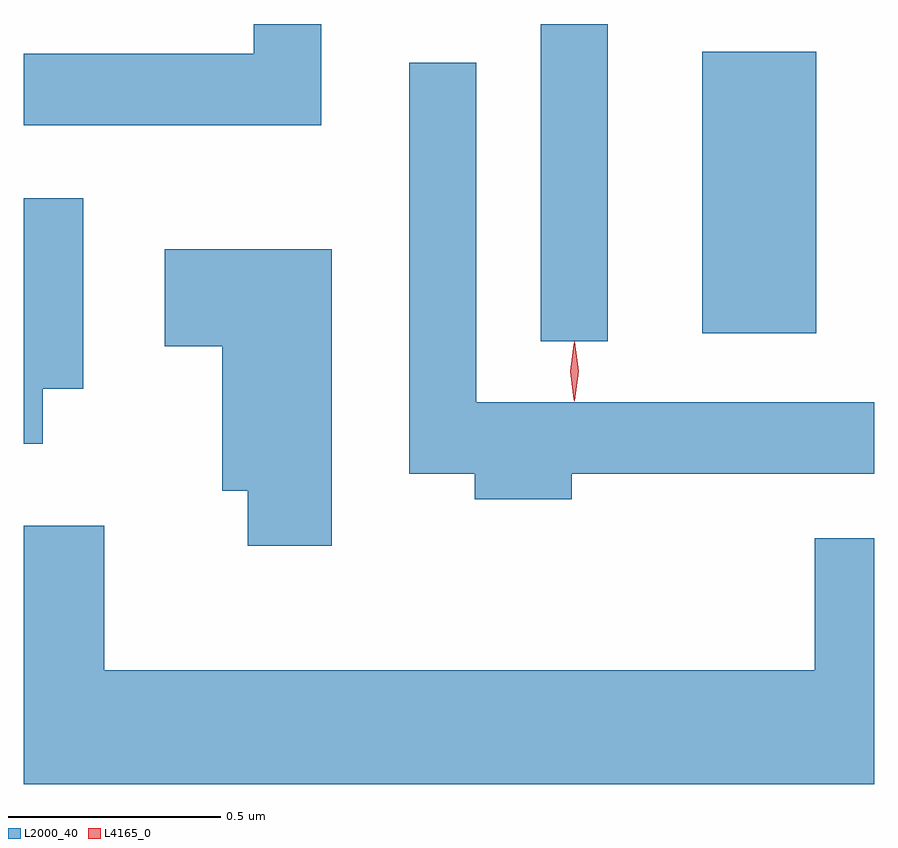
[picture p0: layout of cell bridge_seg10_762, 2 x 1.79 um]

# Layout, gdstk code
import gdstk
lib = gdstk.Library(unit=1e-6, precision=1e-09)
def R(c, l, rs):  # rectangles x0, y0, x1, y1
    for r in rs: c.add(gdstk.rectangle(r[:2], r[2:], *l))
def P(c, l, *ps):  # polygons
    for p in ps: c.add(gdstk.Polygon(p, *l))
L2000_40 = (2000, 40)
L4165_0 = (4165, 0)

bridge_seg10_762 = lib.new_cell('bridge_seg10_762')
R(bridge_seg10_762, L2000_40, [(1028.136,2108.298,1028.294,2109.044), (1028.516,2108.316,1028.784,2108.979)])
P(bridge_seg10_762, L2000_40, [(1027.619,2109.044),(1027.461,2109.044),(1027.461,2108.974),(1026.92,2108.974),(1026.92,2108.806),(1027.619,2108.806)],
  [(1028.209,2107.986),(1028.92,2107.986),(1028.92,2108.154),(1027.984,2108.154),(1027.984,2108.953),(1027.826,2108.953),(1027.826,2107.986),(1027.981,2107.986),(1027.981,2107.926),(1028.209,2107.926)],
  [(1026.964,2108.186),(1027.059,2108.186),(1027.059,2108.634),(1026.92,2108.634),(1026.92,2108.056),(1026.964,2108.056)],
  [(1027.644,2108.514),(1027.251,2108.514),(1027.251,2108.286),(1027.386,2108.286),(1027.386,2107.946),(1027.446,2107.946),(1027.446,2107.816),(1027.644,2107.816)],
  [(1028.92,2107.834),(1028.781,2107.834),(1028.781,2107.524),(1027.109,2107.524),(1027.109,2107.864),(1026.92,2107.864),(1026.92,2107.256),(1028.92,2107.256)])
P(bridge_seg10_762, L4165_0, [(1028.214,2108.16),(1028.214,2108.16),(1028.205,2108.226),(1028.214,2108.292),(1028.215,2108.293),(1028.215,2108.292),(1028.224,2108.226),(1028.215,2108.16)],
  [(1028.215,2108.157),(1028.215,2108.158),(1028.205,2108.227),(1028.215,2108.296),(1028.215,2108.296),(1028.216,2108.296),(1028.225,2108.227),(1028.216,2108.158)])

lib.write_gds('bridge_seg10_762.gds')
